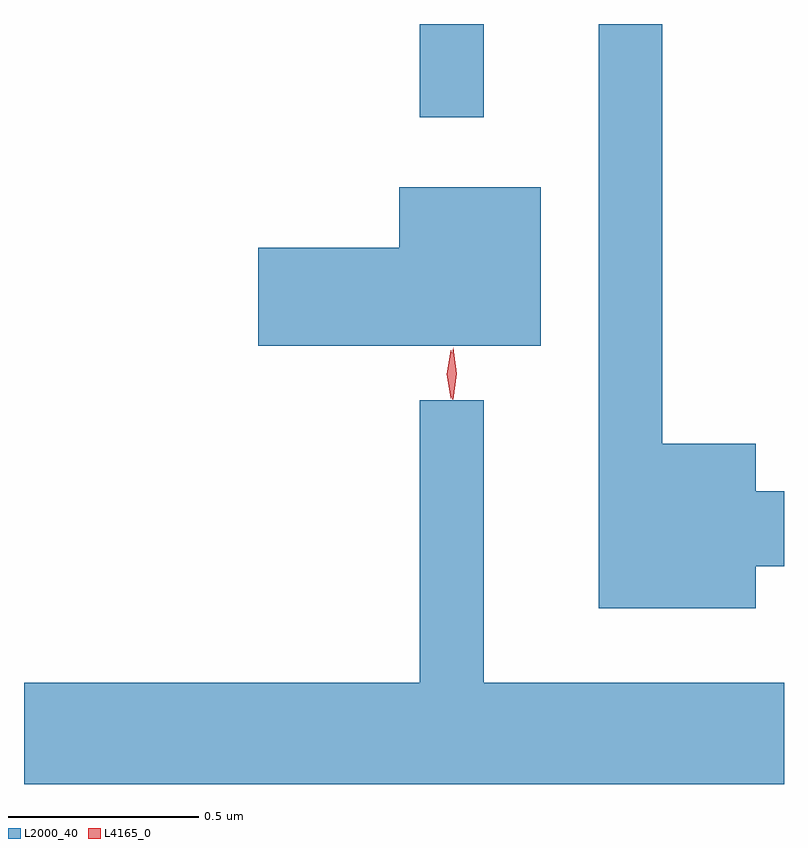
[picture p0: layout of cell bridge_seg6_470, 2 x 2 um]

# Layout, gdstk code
import gdstk
lib = gdstk.Library(unit=1e-6, precision=1e-09)
def R(c, l, rs):  # rectangles x0, y0, x1, y1
    for r in rs: c.add(gdstk.rectangle(r[:2], r[2:], *l))
def P(c, l, *ps):  # polygons
    for p in ps: c.add(gdstk.Polygon(p, *l))
L2000_40 = (2000, 40)
L4165_0 = (4165, 0)

bridge_seg6_470 = lib.new_cell('bridge_seg6_470')
R(bridge_seg6_470, L2000_40, [(617.911,1662.793,618.079,1663.038)])
P(bridge_seg6_470, L2000_40, [(618.794,1661.611),(618.869,1661.611),(618.869,1661.809),(618.794,1661.809),(618.794,1661.934),(618.549,1661.934),(618.549,1663.038),(618.381,1663.038),(618.381,1661.501),(618.794,1661.501)],
  [(618.229,1662.609),(617.856,1662.609),(617.856,1662.449),(617.486,1662.449),(617.486,1662.191),(618.229,1662.191)],
  [(618.869,1661.304),(618.079,1661.304),(618.079,1662.048),(617.911,1662.048),(617.911,1661.304),(616.869,1661.304),(616.869,1661.038),(618.869,1661.038)])
P(bridge_seg6_470, L4165_0, [(617.992,1662.053),(617.992,1662.053),(617.982,1662.116),(617.992,1662.179),(617.992,1662.18),(617.993,1662.179),(618.002,1662.116),(617.993,1662.053)],
  [(617.996,1662.05),(617.988,1662.118),(617.998,1662.186),(617.998,1662.186),(617.999,1662.186),(618.008,1662.118),(617.998,1662.05),(617.997,1662.05)])

lib.write_gds('bridge_seg6_470.gds')
